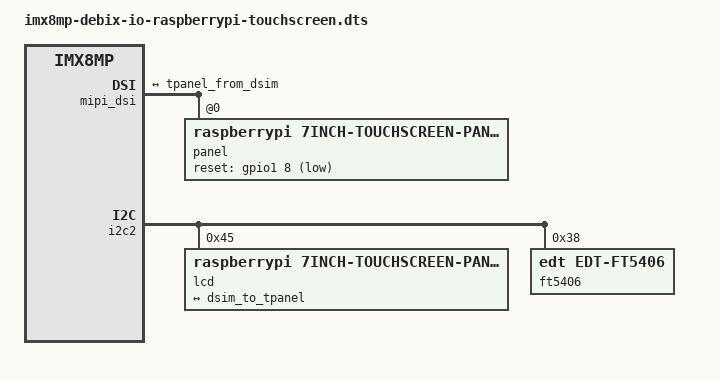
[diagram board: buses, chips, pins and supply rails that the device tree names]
// SPDX-License-Identifier: GPL-2.0+
/*
 * Copyright 2019 NXP
 */

#include "imx8mp-debix-io-board.dts"

&mipi_dsi {
	status = "okay";
	/*John_gao add raspberrypi,7inch-touchscreen-panel*/
	port@1 {
		dsim_to_tpanel: endpoint {
			remote-endpoint = <&tpanel_from_dsim>;
			attach-bridge;
		};
	};

	panel@0 {
		compatible = "raspberrypi,7inch-touchscreen-panel";
		reg = <0>;
		pinctrl-0 = <&pinctrl_mipi_dsi_en>;
		reset-gpio = <&gpio1 8 GPIO_ACTIVE_LOW>;
		status = "okay";
	};
};

&i2c2 {
    /*John_gao add raspberrypi,7inch-touchscreen-panel*/
    lcd@45 {
	    compatible = "raspberrypi,7inch-touchscreen-panel";
            reg = <0x45>;

	    status = "okay";
            port {
                tpanel_from_dsim: endpoint {
                        remote-endpoint = <&dsim_to_tpanel>;
                };
            };
    };

    
	ft5406: ts@38 {
		compatible = "edt,edt-ft5406";
		reg = <0x38>;

		touchscreen-size-x = < 800 >;
		touchscreen-size-y = < 480 >;
	};

};
